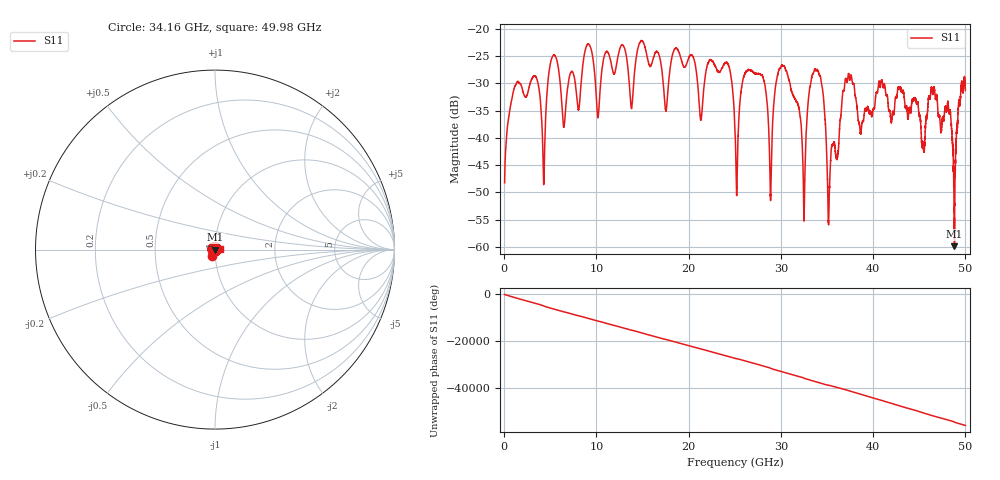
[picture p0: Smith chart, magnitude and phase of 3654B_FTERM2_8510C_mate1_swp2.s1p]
!Created with skrf (http://scikit-rf.org).
# Hz S RI R 50.0
!freq ReS11 ImS11
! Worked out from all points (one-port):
!   10001 points, 45 MHz to 50 GHz, reference 50 ohm
!   lowest |S11| = -59.9 dB at 48.82 GHz (marker M1), VSWR 1.00, Z = 50.1 - j0.00381 ohm
!   |S11| at or under -10 dB: start of sweep to end of sweep
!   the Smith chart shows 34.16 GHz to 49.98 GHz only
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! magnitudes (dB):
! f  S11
! 45 MHz  -48.2
! 1.359 GHz  -29.9
! 3.482 GHz  -29.0
! 4.281 GHz  -48.6
! 5.44 GHz  -24.9
! 6.289 GHz  -34.9
! 12.53 GHz  -23.6
! 17.53 GHz  -35.1
! 18.78 GHz  -23.7
! 21.32 GHz  -36.7
! 24.22 GHz  -26.3
! 25.02 GHz  -38.4
! 26.35 GHz  -27.7
! 28.12 GHz  -29.2
! 28.86 GHz  -50.4
! 29.83 GHz  -27.3
! 31.27 GHz  -32.0
! 32.5 GHz  -54.5
! 33.19 GHz  -30.4
! 34.11 GHz  -28.2
! 35.2 GHz  -53.0
! 37.51 GHz  -29.2
! 38.62 GHz  -39.2
! 43.76 GHz  -36.2
! 45.43 GHz  -41.8
! 46.49 GHz  -31.8
! 48.82 GHz  -59.9
! 50 GHz  -31.3
